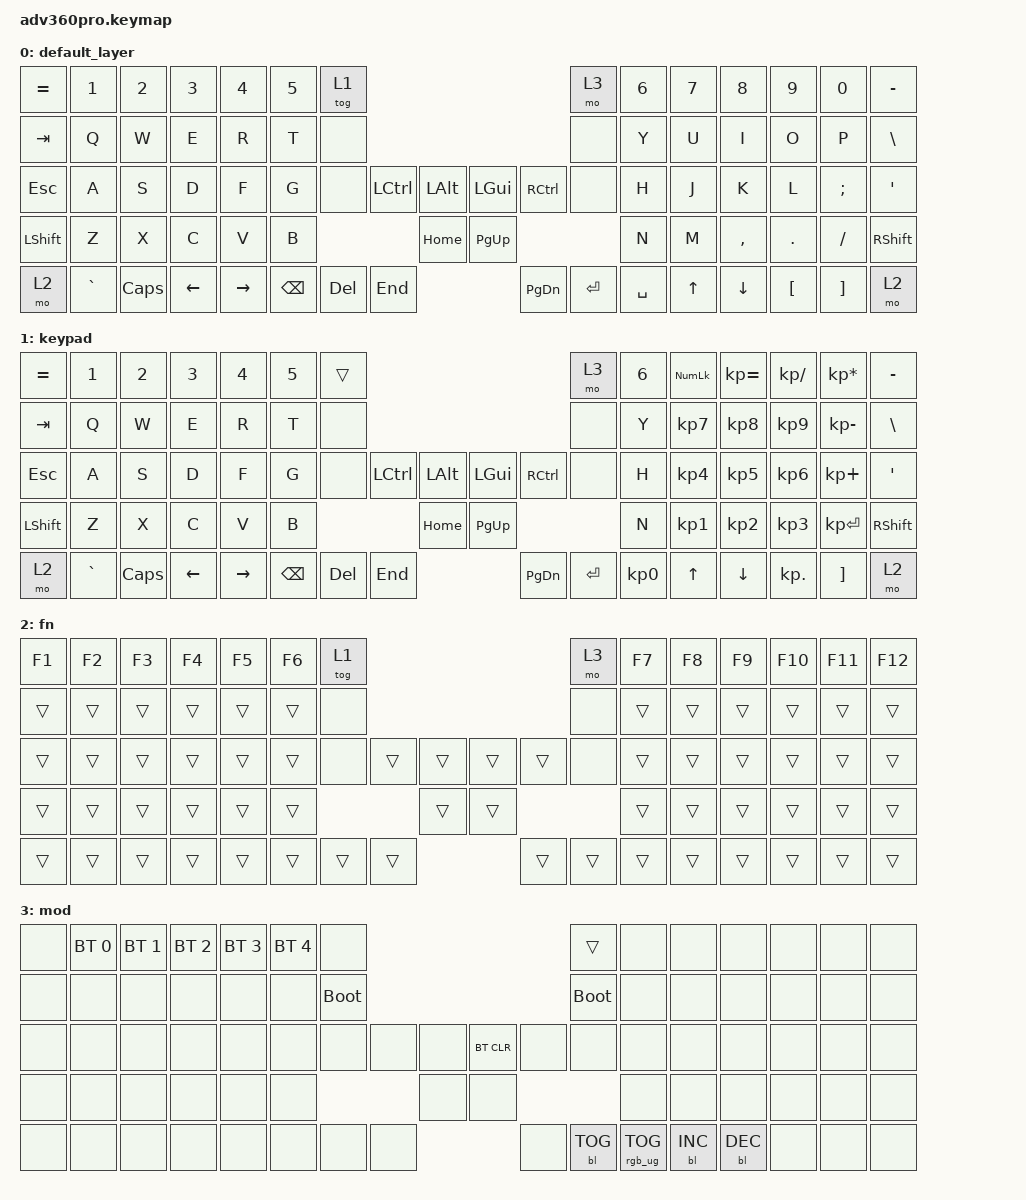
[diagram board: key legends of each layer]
#include <behaviors.dtsi>
#include <dt-bindings/zmk/backlight.h>
#include <dt-bindings/zmk/bt.h>
#include <dt-bindings/zmk/keys.h>
#include <dt-bindings/zmk/rgb.h>

/ {
    combos {
        compatible = "zmk,combos";

        atsign {
            bindings = <&kp RA(AT_SIGN)>;
            key-positions = <21 15>;
        };

        lbrace {
            bindings = <&kp LEFT_BRACE>;
            key-positions = <21 8>;
        };

        rbrace {
            bindings = <&kp RIGHT_BRACE>;
            key-positions = <21 11>;
        };

        rbracket {
            bindings = <&kp RIGHT_BRACKET>;
            key-positions = <21 10>;
        };

        lbracket {
            bindings = <&kp LEFT_BRACKET>;
            key-positions = <21 9>;
        };

        pipe {
            bindings = <&kp PIPE>;
            key-positions = <21 62>;
        };

        lessthan {
            bindings = <&kp LESS_THAN>;
            key-positions = <61 39>;
        };

        greaterthan {
            bindings = <&kp GREATER_THAN>;
            key-positions = <39 62 46>;
        };

        backslash {
            bindings = <&kp BACKSLASH>;
            key-positions = <21 13>;
        };

        print {
            bindings = <&kp PRINTSCREEN>;
            key-positions = <20>;
        };
    };

    keymap {
        compatible = "zmk,keymap";

        default_layer {
            bindings = <
&kp EQUAL  &kp N1     &kp N2    &kp N3    &kp N4     &kp N5  &tog 1                                                                    &mo 3  &kp N6  &kp N7  &kp N8     &kp N9    &kp N0    &kp MINUS
&kp TAB    &kp Q      &kp W     &kp E     &kp R      &kp T   &none                                                                     &none  &kp Y   &kp U   &kp I      &kp O     &kp P     &kp BSLH
&kp ESC    &kp A      &kp S     &kp D     &kp F      &kp G   &none             &kp LCTRL  &kp LALT    &kp LGUI   &kp RCTRL             &none  &kp H   &kp J   &kp K      &kp L     &kp SEMI  &kp SQT
&kp LSHFT  &kp Z      &kp X     &kp C     &kp V      &kp B                                &kp HOME    &kp PG_UP                               &kp N   &kp M   &kp COMMA  &kp DOT   &kp FSLH  &kp RSHFT
&mo 2      &kp GRAVE  &kp CAPS  &kp LEFT  &kp RIGHT                  &kp BSPC  &kp DEL    &kp END     &kp PG_DN  &kp ENTER  &kp SPACE                 &kp UP  &kp DOWN   &kp LBKT  &kp RBKT  &mo 2
            >;
        };

        keypad {
            bindings = <
&kp EQUAL  &kp N1     &kp N2    &kp N3    &kp N4     &kp N5  &trans                                                                    &mo 3  &kp N6  &kp KP_NUM  &kp KP_EQUAL  &kp KP_DIVIDE  &kp KP_MULTIPLY  &kp MINUS
&kp TAB    &kp Q      &kp W     &kp E     &kp R      &kp T   &none                                                                     &none  &kp Y   &kp KP_N7   &kp KP_N8     &kp KP_N9      &kp KP_MINUS     &kp BSLH
&kp ESC    &kp A      &kp S     &kp D     &kp F      &kp G   &none             &kp LCTRL  &kp LALT    &kp LGUI   &kp RCTRL             &none  &kp H   &kp KP_N4   &kp KP_N5     &kp KP_N6      &kp KP_PLUS      &kp SQT
&kp LSHFT  &kp Z      &kp X     &kp C     &kp V      &kp B                                &kp HOME    &kp PG_UP                               &kp N   &kp KP_N1   &kp KP_N2     &kp KP_N3      &kp KP_ENTER     &kp RSHFT
&mo 2      &kp GRAVE  &kp CAPS  &kp LEFT  &kp RIGHT                  &kp BSPC  &kp DEL    &kp END     &kp PG_DN  &kp ENTER  &kp KP_N0                 &kp UP      &kp DOWN      &kp KP_DOT     &kp RBKT         &mo 2
            >;
        };

        fn {
            bindings = <
&kp F1  &kp F2  &kp F3  &kp F4  &kp F5  &kp F6  &tog 1                                                    &mo 3  &kp F7  &kp F8  &kp F9  &kp F10  &kp F11  &kp F12
&trans  &trans  &trans  &trans  &trans  &trans  &none                                                     &none  &trans  &trans  &trans  &trans   &trans   &trans
&trans  &trans  &trans  &trans  &trans  &trans  &none           &trans  &trans    &trans  &trans          &none  &trans  &trans  &trans  &trans   &trans   &trans
&trans  &trans  &trans  &trans  &trans  &trans                          &trans    &trans                         &trans  &trans  &trans  &trans   &trans   &trans
&trans  &trans  &trans  &trans  &trans                  &trans  &trans  &trans    &trans  &trans  &trans                 &trans  &trans  &trans   &trans   &trans
            >;
        };

        mod {
            bindings = <
&none  &bt BT_SEL 0  &bt BT_SEL 1  &bt BT_SEL 2  &bt BT_SEL 3  &bt BT_SEL 4  &none                                                                        &trans       &none  &none       &none       &none  &none  &none
&none  &none         &none         &none         &none         &none         &bootloader                                                                  &bootloader  &none  &none       &none       &none  &none  &none
&none  &none         &none         &none         &none         &none         &none               &none  &none    &bt BT_CLR  &none                        &none        &none  &none       &none       &none  &none  &none
&none  &none         &none         &none         &none         &none                                    &none    &none                                                 &none  &none       &none       &none  &none  &none
&none  &none         &none         &none         &none                                    &none  &none  &none    &none       &bl BL_TOG  &rgb_ug RGB_TOG                      &bl BL_INC  &bl BL_DEC  &none  &none  &none
            >;
        };
    };
};
